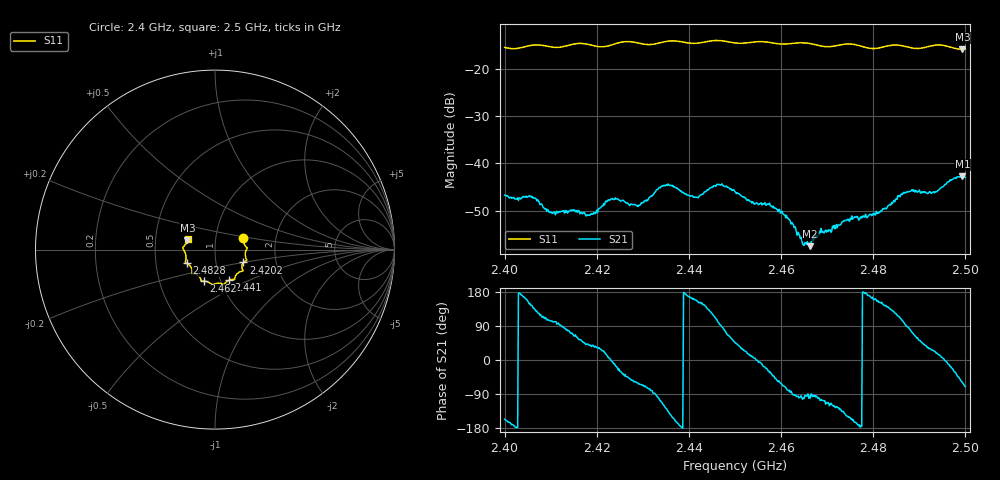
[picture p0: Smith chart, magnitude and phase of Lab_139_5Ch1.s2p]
# Hz S RI R 50
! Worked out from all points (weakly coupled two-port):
!   601 points, 2.4 GHz to 2.5 GHz, reference 50 ohm
!   highest |S21| = -42.72 dB at 2.4993 GHz (marker M1); lowest = -57.5 dB at 2.4663 GHz (marker M2)
!   lowest |S11| = -15.8 dB at 2.4993 GHz (marker M3), VSWR 1.39, Z = 36.5 + j3.89 ohm
!   |S11| at or under -10 dB: start of sweep to end of sweep
!   S12 and S22 are empty: the file has one direction only
!   S11 on the Smith chart (normalised r, x): 2.4 GHz: 1.36, +0.17; 2.4202 GHz: 1.36, -0.20; 2.441 GHz: 1.10, -0.39; 2.462 GHz: 0.83, -0.30; 2.4828 GHz: 0.72, -0.11; 2.5 GHz: 0.73, +0.09
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2.4e9  0.1581 0.062  -0.00424 -0.00185  0 0  0 0
2.406167e9  0.1792 0.0109  -0.00318 0.00289  0 0  0 0
2.410167e9  0.1715 -0.00856  -0.000668 0.00292  0 0  0 0
2.416667e9  0.177 -0.0602  0.00189 0.00238  0 0  0 0
2.420167e9  0.1581 -0.0718  0.00251 0.00165  0 0  0 0
2.4235e9  0.1504 -0.1027  0.00416 -0.000444  0 0  0 0
2.429e9  0.1448 -0.1211  0.00166 -0.00307  0 0  0 0
2.433333e9  0.1118 -0.151  -0.000875 -0.00529  0 0  0 0
2.436e9  0.1092 -0.1664  -0.00476 -0.00343  0 0  0 0
2.441e9  0.0781 -0.1702  -0.00416 0.00134  0 0  0 0
2.446667e9  0.0481 -0.1947  -0.000394 0.00597  0 0  0 0
2.45e9  0.0278 -0.1875  0.0035 0.00366  0 0  0 0
2.462e9  -0.0611 -0.1755  0.000204 -0.00245  0 0  0 0
2.465e9  -0.076 -0.1741  -0.000266 -0.00133  0 0  0 0
2.466333e9  -0.0781 -0.1695  -0.000241 -0.00131  0 0  0 0
2.466667e9  -0.0786 -0.1676  -9.21e-06 -0.00152  0 0  0 0
2.482833e9  -0.1572 -0.0768  -0.00257 0.00206  0 0  0 0
2.483333e9  -0.1602 -0.0754  -0.00273 0.00233  0 0  0 0
2.487e9  -0.1632 -0.0592  -0.000161 0.00488  0 0  0 0
2.493e9  -0.1779 0.00468  0.00452 0.00213  0 0  0 0
2.499333e9  -0.154 0.0518  0.00378 -0.00626  0 0  0 0
2.5e9  -0.1524 0.0611  0.00244 -0.00665  0 0  0 0
